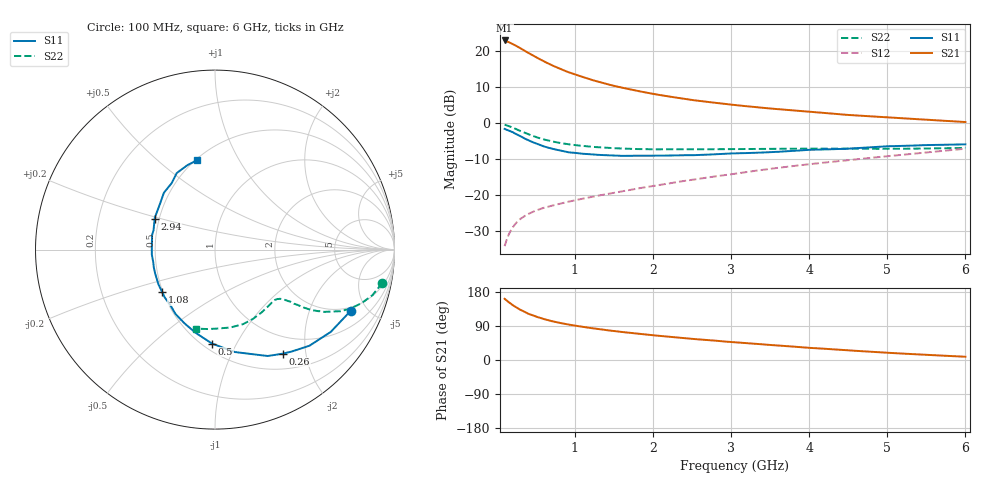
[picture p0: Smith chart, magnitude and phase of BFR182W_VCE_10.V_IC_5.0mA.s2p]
! Infineon Technologies  Discrete & RF Semiconductors
! BFR182W
! VCE =  10. V,  IC =  5.0 mA
! Common Emitter S-Parameters:  Nov 2015
# GHz  S  MA  R  50
!  f  S11  S21  S12  S22
! GHz  MAG  ANG  MAG  ANG  MAG  ANG  MAG  ANG
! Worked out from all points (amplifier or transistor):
!   192 points, 100 MHz to 6 GHz, reference 50 ohm
!   highest |S21| = 22.9 dB at 100 MHz (marker M1)
!   |S21| within 3 dB of that: start of sweep to 367.3 MHz
!   unconditionally stable (mu >= 1): 1.422 GHz to 3.026 GHz
!   at 440 MHz: K = 0.50, MSG = 21.9 dB, |S12| = -24.8 dB
!   at 1.7 GHz: K = 1.04, MAG = 12.7 dB, |S12| = -18.5 dB
!   at 6 GHz: K = 0.77, MSG = 3.7 dB, |S12| = -7.1 dB
!   S11 on the Smith chart (normalised r, x): 100 MHz: 1.78, -3.89; 260 MHz: 0.72, -1.61; 500 MHz: 0.56, -0.80; 1.08 GHz: 0.49, -0.27; 2.94 GHz: 0.47, +0.19; 6 GHz: 0.51, +0.68
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0.1  0.8301 -24.2  13.94 161.5  0.0197 76.4  0.9504 -11.3
0.15  0.7914 -35.4  13.28 152.9  0.0282 71.9  0.9137 -16.1
0.2  0.7509 -45.5  12.54 145.3  0.0354 67.4  0.8688 -20.1
0.26  0.693 -56.7  11.55 137.4  0.0427 63.0  0.8127 -24.1
0.3  0.6618 -63.6  10.9 132.6  0.0469 60.7  0.7784 -26.2
0.4  0.5814 -79.0  9.425 122.3  0.0549 56.8  0.7004 -29.7
0.5  0.5243 -91.7  8.186 114.6  0.0613 54.6  0.64 -31.9
0.6  0.4759 -103.2  7.183 108.2  0.0669 53.6  0.5937 -33.1
0.7  0.4442 -112.6  6.352 102.7  0.0715 53.5  0.5591 -33.7
0.8  0.4203 -121.7  5.708 98.1  0.0758 53.7  0.5318 -34.4
0.9  0.3954 -129.3  5.147 94.2  0.0806 54.4  0.5111 -34.6
1.08  0.3779 -141.2  4.424 88.4  0.0887 55.6  0.485 -35.5
1.1  0.3761 -142.5  4.352 87.8  0.0896 55.7  0.4825 -35.6
1.2  0.3696 -148.7  4.001 84.4  0.0942 56.4  0.4699 -36.0
1.5  0.3561 -162.9  3.278 76.4  0.1081 58.7  0.4483 -37.9
2.08  0.3534 175.0  2.452 63.8  0.1387 62.1  0.4327 -42.7
2.5  0.3583 163.0  2.086 55.7  0.1635 63.4  0.4326 -47.1
2.94  0.3762 153.4  1.828 48.4  0.1913 63.9  0.4354 -53.0
3.1  0.3814 150.1  1.753 45.9  0.2025 63.9  0.4363 -55.3
4.1  0.4282 130.2  1.408 30.9  0.2765 61.5  0.4426 -71.2
5.1  0.4795 114.8  1.183 18.0  0.3558 57.2  0.4403 -88.9
6  0.5074 101.6  1.033 8.6  0.4413 52.1  0.4528 -103.6
